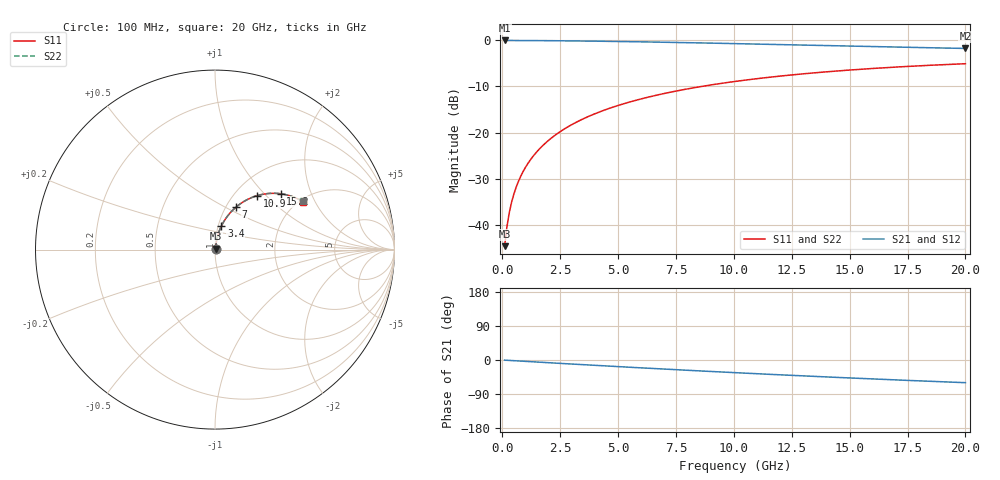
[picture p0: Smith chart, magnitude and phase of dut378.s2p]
! Touchstone file exported from HFSS 2026.1.0
!  File:  C:/ffzhzh/LocalFiles/Ansys_Project_Files/temp_train_BSMRDL_378_1783011923_55676.aedt
!  Generated:  01:07:00 AM Jul  3, 2026
!  Design:  BSMRDL
!  Project:  temp_train_BSMRDL_378_1783011923_55676
! Variables:
!  h_bsmrdl = 5.86um
!  h_ox = 20um
!  h_rdl = 5um
!  h_sub = 80um
!  h_tmrdl = 5um
!  h_tsv = 80um
!  h_via = 3um
!  l_bsmrdl = 921.38um
!  l_sub = 1321.38um
!  l_tmrdl = 200um
!  m_sub = 200um
!  pitch = 48.76um
!  r_tsv = 6um
!  s_tmrdl = 10um
!  w_bsmrdl = 14.31um
!  w_sub = 500um
!  w_tmrdl = 12um
!  x_tsv_center1 = 206um
!  x_tsv_center2 = 1141.69um
!  x_tsv_center3 = 1353.69um
!  x_tsv_center4 = 2289.38um
!  x_tsv_center5 = 2501.38um
!  x_tsv_center6 = 3437.07um
# GHz S MA R 50.000000
! Terminal data exported
! Port[1] = BSM_RDL1_1_T1
! Port[2] = BSM_RDL1_1_T2
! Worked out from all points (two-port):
!   200 points, 100 MHz to 20 GHz, reference 50 ohm
!   highest |S21| = -0.03 dB at 100 MHz (marker M1); lowest = -1.8 dB at 20 GHz (marker M2)
!   |S21| within 3 dB of the highest: start of sweep to end of sweep
!   lowest |S11| = -44.6 dB at 100 MHz (marker M3), VSWR 1.01, Z = 50.4 + j0.435 ohm
!   |S11| at or under -10 dB: start of sweep to 8.614 GHz
!   |S22| runs from -44.6 to -5.1 dB; largest |S21 - S12| = 5.7e-15
!   S11 on the Smith chart (normalised r, x): 100 MHz: 1.01, +0.01; 3.4 GHz: 1.04, +0.28; 7 GHz: 1.11, +0.57; 10.9 GHz: 1.26, +0.89; 15.2 GHz: 1.54, +1.25; 20 GHz: 2.07, +1.61
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0.1  0.005861 47.4  0.9961 -0.4  0.9961 -0.4  0.005861 47.4
! Gamma 0 0 0 0
! Port Impedance 50 0 50 0
0.2  0.009519 63.9  0.9959 -0.7  0.9959 -0.7  0.009519 63.9
0.3  0.01347 70.7  0.9957 -1.1  0.9957 -1.1  0.01347 70.7
0.4  0.01749 74.2  0.9955 -1.5  0.9955 -1.5  0.01749 74.2
0.5  0.02153 76.3  0.9953 -1.8  0.9953 -1.8  0.02153 76.3
0.7  0.02965 78.5  0.995 -2.5  0.995 -2.5  0.02965 78.5
1  0.04188 79.7  0.9943 -3.6  0.9943 -3.6  0.04188 79.7
1.4  0.05816 79.8  0.9931 -5.0  0.9931 -5.0  0.05816 79.8
2  0.08237 78.8  0.9908 -7.2  0.9908 -7.2  0.08237 78.8
2.6  0.1062 77.2  0.9878 -9.3  0.9878 -9.3  0.1062 77.2
3.4  0.1372 74.8  0.9829 -12.0  0.9829 -12.0  0.1372 74.8
3.5  0.141 74.5  0.9823 -12.4  0.9823 -12.4  0.141 74.5
5  0.1965 69.8  0.971 -17.5  0.971 -17.5  0.1965 69.8
6.8  0.2587 64.2  0.9548 -23.4  0.9548 -23.4  0.2587 64.2
7  0.2653 63.6  0.9528 -24.0  0.9528 -24.0  0.2653 63.6
8.5  0.3128 59.0  0.9375 -28.7  0.9375 -28.7  0.3128 59.0
10.1  0.3594 54.3  0.9202 -33.6  0.9202 -33.6  0.3594 54.3
10.9  0.3811 52.0  0.9112 -36.0  0.9112 -36.0  0.3811 52.1
13.4  0.4421 45.1  0.8831 -43.1  0.8831 -43.1  0.4421 45.2
15.2  0.4798 40.4  0.8632 -47.9  0.8632 -47.9  0.4798 40.5
16.7  0.5074 36.6  0.8475 -51.8  0.8475 -51.8  0.5074 36.7
20  0.5572 28.7  0.8162 -59.9  0.8162 -59.9  0.5572 28.8
